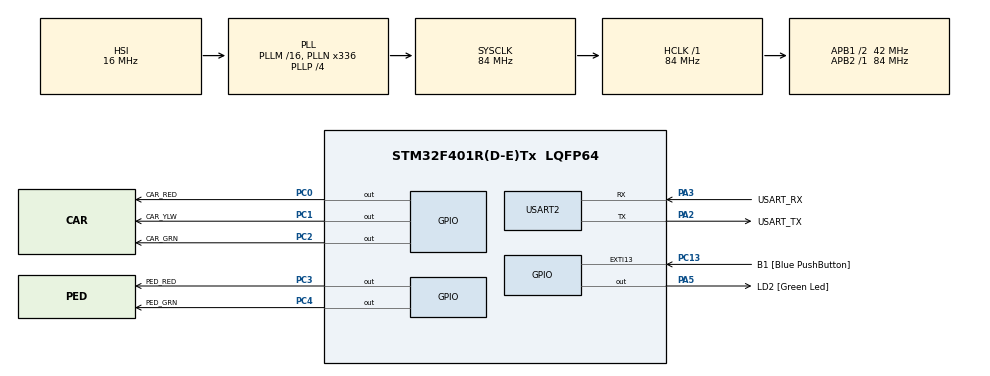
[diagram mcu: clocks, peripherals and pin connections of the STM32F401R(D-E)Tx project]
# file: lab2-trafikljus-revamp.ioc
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Mcu.Family=STM32F4
Mcu.Name=STM32F401R(D-E)Tx
Mcu.Package=LQFP64
NVIC.PriorityGroup=NVIC_PRIORITYGROUP_0
PA13.GPIO_Label=TMS
PA13.Mode=Serial_Wire
PA13.Signal=SYS_JTMS-SWDIO
PA14.GPIO_Label=TCK
PA14.Mode=Serial_Wire
PA14.Signal=SYS_JTCK-SWCLK
PA2.GPIO_Label=USART_TX
PA2.GPIO_Mode=GPIO_MODE_AF_PP
PA2.GPIO_PuPd=GPIO_NOPULL
PA2.GPIO_Speed=GPIO_SPEED_FREQ_LOW
PA2.Mode=Asynchronous
PA2.Signal=USART2_TX
PA3.GPIO_Label=USART_RX
PA3.GPIO_Mode=GPIO_MODE_AF_PP
PA3.GPIO_PuPd=GPIO_NOPULL
PA3.GPIO_Speed=GPIO_SPEED_FREQ_LOW
PA3.Mode=Asynchronous
PA3.Signal=USART2_RX
PA5.GPIO_Label=LD2 [Green Led]
PA5.GPIO_Mode=GPIO_MODE_OUTPUT_PP
PA5.GPIO_PuPd=GPIO_NOPULL
PA5.GPIO_Speed=GPIO_SPEED_FREQ_LOW
PA5.Signal=GPIO_Output
PB3.GPIO_Label=SWO
PB3.Signal=SYS_JTDO-SWO
PC0.GPIO_Label=CAR_RED
PC0.Signal=GPIO_Output
PC1.GPIO_Label=CAR_YLW
PC1.Signal=GPIO_Output
PC13-ANTI_TAMP.GPIO_Label=B1 [Blue PushButton]
PC13-ANTI_TAMP.GPIO_ModeDefaultEXTI=GPIO_MODE_IT_FALLING
PC13-ANTI_TAMP.GPIO_PuPd=GPIO_NOPULL
PC13-ANTI_TAMP.Signal=GPXTI13
PC14-OSC32_IN.Mode=LSE-External-Oscillator
PC14-OSC32_IN.Signal=RCC_OSC32_IN
PC15-OSC32_OUT.Mode=LSE-External-Oscillator
PC15-OSC32_OUT.Signal=RCC_OSC32_OUT
PC2.GPIO_Label=CAR_GRN
PC2.Signal=GPIO_Output
PC3.GPIO_Label=PED_RED
PC3.Signal=GPIO_Output
PC4.GPIO_Label=PED_GRN
PC4.Signal=GPIO_Output
PH0\ -\ OSC_IN.Mode=HSE-External-Clock-Source
PH0\ -\ OSC_IN.Signal=RCC_OSC_IN
PH1\ -\ OSC_OUT.Mode=HSE-External-Clock-Source
PH1\ -\ OSC_OUT.Signal=RCC_OSC_OUT
ProjectManager.HeapSize=0x200
ProjectManager.StackSize=0x400
ProjectManager.TargetToolchain=STM32CubeIDE
RCC.48MHZClocksFreq_Value=48000000
RCC.AHBFreq_Value=84000000
RCC.APB1CLKDivider=RCC_HCLK_DIV2
RCC.APB1Freq_Value=42000000
RCC.APB1TimFreq_Value=84000000
RCC.APB2Freq_Value=84000000
RCC.APB2TimFreq_Value=84000000
RCC.CortexFreq_Value=84000000
RCC.HCLKFreq_Value=84000000
RCC.HSE_VALUE=8000000
RCC.HSI_VALUE=16000000
RCC.PLLN=336
RCC.PLLP=RCC_PLLP_DIV4
RCC.PLLQ=7
RCC.SYSCLKFreq_VALUE=84000000
RCC.SYSCLKSource=RCC_SYSCLKSOURCE_PLLCLK
RCC.VCOOutputFreq_Value=336000000
USART2.VirtualMode=VM_ASYNC
board=NUCLEO-F401RE

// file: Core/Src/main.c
/* USER CODE BEGIN Header */
/**
  ******************************************************************************
  * @file           : main.c
  * @brief          : Main program body
  ******************************************************************************
  * @attention
  *
  * Copyright (c) 2023 STMicroelectronics.
  * All rights reserved.
  *
  * This software is licensed under terms that can be found in the LICENSE file
  * in the root directory of this software component.
  * If no LICENSE file comes with this software, it is provided AS-IS.
  *
  ******************************************************************************
  */
/* USER CODE END Header */
#include "main.h"

/* USER CODE BEGIN PTD */
enum TrafficLightState
{
	s_init,
	s_all_stop,
	s_cars_go,
	s_button_pressed,
	s_cars_stop,
	s_pedestrians_go,
	s_cars_start,
};
typedef enum event
{
	ev_none,
	ev_button_press,
	ev_state_timeout
};
/* USER CODE END PTD */

UART_HandleTypeDef huart2;

/* USER CODE BEGIN PV */
enum TrafficLightState state;
enum event last_event;
int ticks_left_in_state;
int button_pressed_prev_tick = 0;
uint32_t before;

/* USER CODE END PV */

void SystemClock_Config(void);
static void MX_GPIO_Init(void);
static void MX_USART2_UART_Init(void);
/* USER CODE BEGIN PFP */
int is_blue_button_pressed();
void set_traffic_lights(TrafficLightState tls);
void tick();
event get_event(int check_button);
/* USER CODE END PFP */

/* USER CODE BEGIN 0 */
int is_blue_button_pressed()
{
	uint32_t reg_reading = GPIOC->IDR;
	// Should be bit 13
	// to get a bit, shift right by position number and '&' (bitwise and) with 0x01
	return !((reg_reading >> 13) & 0x01);
}

void set_traffic_lights(TrafficLightState tls)
{
	GPIO_PinState cr, cy, cg, pr, pg;
	cr = cy = cg = pr = pg = GPIO_PIN_RESET;
	switch (tls)
	{
	case s_init:
		cr = pr = GPIO_PIN_SET;
		break;
	case s_all_stop:
		cr = pr = GPIO_PIN_SET;
		break;
	case s_cars_go:
	case s_button_pressed:
		cg = pr = GPIO_PIN_SET;
		break;
	case s_cars_stop:
		cy = pr = GPIO_PIN_SET;
		break;
	case s_pedestrians_go:
		cr = pg = GPIO_PIN_SET;
		break;
	case s_cars_start:
		cy = pr = GPIO_PIN_SET;
		break;
	}
	HAL_GPIO_WritePin(GPIOC, CAR_RED_Pin, cr);
	HAL_GPIO_WritePin(GPIOC, CAR_YLW_Pin, cy);
	HAL_GPIO_WritePin(GPIOC, CAR_GRN_Pin, cg);
	HAL_GPIO_WritePin(GPIOC, PED_RED_Pin, pr);
	HAL_GPIO_WritePin(GPIOC, PED_GRN_Pin, pg);
	return;
}

void tick() {
	uint32_t now = HAL_GetTick();
	ticks_left_in_state -= now - before;
	before = now;
	return;
}

event get_event(int check_button) {
	if (check_button) {
		if (is_blue_button_pressed()) {
			if (!button_pressed_prev_tick) {
				button_pressed_prev_tick = 1;
				return ev_button_press;
			}
		} else {
			button_pressed_prev_tick = 0;
		}
	} else if (ticks_left_in_state <= 0) {
		return ev_state_timeout;
	}
	return ev_none;
}
/* USER CODE END 0 */

int main(void)
{

  /* MCU Configuration--------------------------------------------------------*/

  /* Reset of all peripherals, Initializes the Flash interface and the Systick. */
  HAL_Init();

  /* USER CODE BEGIN Init */
  before = HAL_GetTick();

  /* USER CODE END Init */

  /* Configure the system clock */
  SystemClock_Config();

  /* Initialize all configured peripherals */
  MX_GPIO_Init();
  MX_USART2_UART_Init();
  /* USER CODE BEGIN 2 */
  //while (1)
  //{
  //  HAL_Delay(333);

  //  HAL_GPIO_TogglePin(LD2_GPIO_Port, LD2_Pin);
  //}

  state = s_init;
  set_traffic_lights(state);

  /* USER CODE END 2 */

  /* Infinite loop */
  /* USER CODE BEGIN WHILE */
  while (1)
  {
	  /*for (TrafficLightState s = s_init; s++; s <= s_cars_start) {
	  	  HAL_Delay(500);
	  	  set_traffic_lights(s);
	    }*/

	    //HAL_Delay(333);

	    //HAL_GPIO_TogglePin(CAR_RED_GPIO_Port, CAR_RED_Pin);
	    //HAL_GPIO_TogglePin(CAR_YLW_GPIO_Port, CAR_YLW_Pin);
	    //HAL_GPIO_TogglePin(CAR_GRN_GPIO_Port, CAR_GRN_Pin);
	    //HAL_GPIO_TogglePin(PED_RED_GPIO_Port, PED_RED_Pin);
	    //HAL_GPIO_TogglePin(PED_GRN_GPIO_Port, PED_GRN_Pin);
	    //continue;

	  	tick();
		event new_event = get_event(state == s_cars_go);
		switch(state)
		{
		case s_init:
			state = s_all_stop;
			ticks_left_in_state = 2000;
			new_event 			= ev_none;
		case s_all_stop:
			if (new_event == ev_state_timeout) {
				state 				= s_cars_go;
				ticks_left_in_state = 0;
				new_event 			= ev_none;
				set_traffic_lights(s_cars_go);
			}
			break;
		case s_cars_go:
			if (new_event == ev_button_press) {
				state 				= s_button_pressed;
				ticks_left_in_state = 3000;
				new_event 			= ev_none;
				set_traffic_lights(s_button_pressed);
			}
			break;
		case s_button_pressed:
			if (new_event == ev_state_timeout) {
				state 				= s_cars_stop;
				ticks_left_in_state = 2500;
				new_event 			= ev_none;
				set_traffic_lights(s_cars_stop);
			}
			break;
		case s_cars_stop:
			if (new_event == ev_state_timeout) {
				state				= s_pedestrians_go;
				ticks_left_in_state = 5000;
				new_event			= ev_none;
				set_traffic_lights(s_pedestrians_go);
			}
			break;
		case s_pedestrians_go:
			if (new_event == ev_state_timeout) {
				state 				= s_cars_start;
				ticks_left_in_state = 2500;
				new_event 			= ev_none;
				set_traffic_lights(s_cars_start);
			}
			break;
		case s_cars_start:
			if (new_event == ev_state_timeout) {
				state 				= s_cars_go;
				ticks_left_in_state = 0;
				new_event 			= ev_none;
				set_traffic_lights(s_cars_go);
			}
			break;

		}
    /* USER CODE END WHILE */

  }
}

void SystemClock_Config(void)
{
  RCC_OscInitTypeDef RCC_OscInitStruct = {0};
  RCC_ClkInitTypeDef RCC_ClkInitStruct = {0};

  /** Configure the main internal regulator output voltage
  */
  __HAL_RCC_PWR_CLK_ENABLE();
  __HAL_PWR_VOLTAGESCALING_CONFIG(PWR_REGULATOR_VOLTAGE_SCALE2);

  /** Initializes the RCC Oscillators according to the specified parameters
  * in the RCC_OscInitTypeDef structure.
  */
  RCC_OscInitStruct.OscillatorType = RCC_OSCILLATORTYPE_HSI;
  RCC_OscInitStruct.HSIState = RCC_HSI_ON;
  RCC_OscInitStruct.HSICalibrationValue = RCC_HSICALIBRATION_DEFAULT;
  RCC_OscInitStruct.PLL.PLLState = RCC_PLL_ON;
  RCC_OscInitStruct.PLL.PLLSource = RCC_PLLSOURCE_HSI;
  RCC_OscInitStruct.PLL.PLLM = 16;
  RCC_OscInitStruct.PLL.PLLN = 336;
  RCC_OscInitStruct.PLL.PLLP = RCC_PLLP_DIV4;
  RCC_OscInitStruct.PLL.PLLQ = 7;
  if (HAL_RCC_OscConfig(&RCC_OscInitStruct) != HAL_OK)
  {
    Error_Handler();
  }

  /** Initializes the CPU, AHB and APB buses clocks
  */
  RCC_ClkInitStruct.ClockType = RCC_CLOCKTYPE_HCLK|RCC_CLOCKTYPE_SYSCLK
                              |RCC_CLOCKTYPE_PCLK1|RCC_CLOCKTYPE_PCLK2;
  RCC_ClkInitStruct.SYSCLKSource = RCC_SYSCLKSOURCE_PLLCLK;
  RCC_ClkInitStruct.AHBCLKDivider = RCC_SYSCLK_DIV1;
  RCC_ClkInitStruct.APB1CLKDivider = RCC_HCLK_DIV2;
  RCC_ClkInitStruct.APB2CLKDivider = RCC_HCLK_DIV1;

  if (HAL_RCC_ClockConfig(&RCC_ClkInitStruct, FLASH_LATENCY_2) != HAL_OK)
  {
    Error_Handler();
  }
}

static void MX_USART2_UART_Init(void)
{

  huart2.Instance = USART2;
  huart2.Init.BaudRate = 115200;
  huart2.Init.WordLength = UART_WORDLENGTH_8B;
  huart2.Init.StopBits = UART_STOPBITS_1;
  huart2.Init.Parity = UART_PARITY_NONE;
  huart2.Init.Mode = UART_MODE_TX_RX;
  huart2.Init.HwFlowCtl = UART_HWCONTROL_NONE;
  huart2.Init.OverSampling = UART_OVERSAMPLING_16;
  if (HAL_UART_Init(&huart2) != HAL_OK)
  {
    Error_Handler();
  }

}

static void MX_GPIO_Init(void)
{
  GPIO_InitTypeDef GPIO_InitStruct = {0};

  /* GPIO Ports Clock Enable */
  __HAL_RCC_GPIOC_CLK_ENABLE();
  __HAL_RCC_GPIOH_CLK_ENABLE();
  __HAL_RCC_GPIOA_CLK_ENABLE();
  __HAL_RCC_GPIOB_CLK_ENABLE();

  /*Configure GPIO pin Output Level */
  HAL_GPIO_WritePin(GPIOC, CAR_RED_Pin|CAR_YLW_Pin|CAR_GRN_Pin|PED_RED_Pin
                          |PED_GRN_Pin, GPIO_PIN_RESET);

  /*Configure GPIO pin Output Level */
  HAL_GPIO_WritePin(LD2_GPIO_Port, LD2_Pin, GPIO_PIN_RESET);

  /*Configure GPIO pin : B1_Pin */
  GPIO_InitStruct.Pin = B1_Pin;
  GPIO_InitStruct.Mode = GPIO_MODE_IT_FALLING;
  GPIO_InitStruct.Pull = GPIO_NOPULL;
  HAL_GPIO_Init(B1_GPIO_Port, &GPIO_InitStruct);

  /*Configure GPIO pins : CAR_RED_Pin CAR_YLW_Pin CAR_GRN_Pin PED_RED_Pin
                           PED_GRN_Pin */
  GPIO_InitStruct.Pin = CAR_RED_Pin|CAR_YLW_Pin|CAR_GRN_Pin|PED_RED_Pin
                          |PED_GRN_Pin;
  GPIO_InitStruct.Mode = GPIO_MODE_OUTPUT_PP;
  GPIO_InitStruct.Pull = GPIO_NOPULL;
  GPIO_InitStruct.Speed = GPIO_SPEED_FREQ_LOW;
  HAL_GPIO_Init(GPIOC, &GPIO_InitStruct);

  /*Configure GPIO pin : LD2_Pin */
  GPIO_InitStruct.Pin = LD2_Pin;
  GPIO_InitStruct.Mode = GPIO_MODE_OUTPUT_PP;
  GPIO_InitStruct.Pull = GPIO_NOPULL;
  GPIO_InitStruct.Speed = GPIO_SPEED_FREQ_LOW;
  HAL_GPIO_Init(LD2_GPIO_Port, &GPIO_InitStruct);

}

void Error_Handler(void)
{
  __disable_irq();
  while (1)
  {
  }
}
